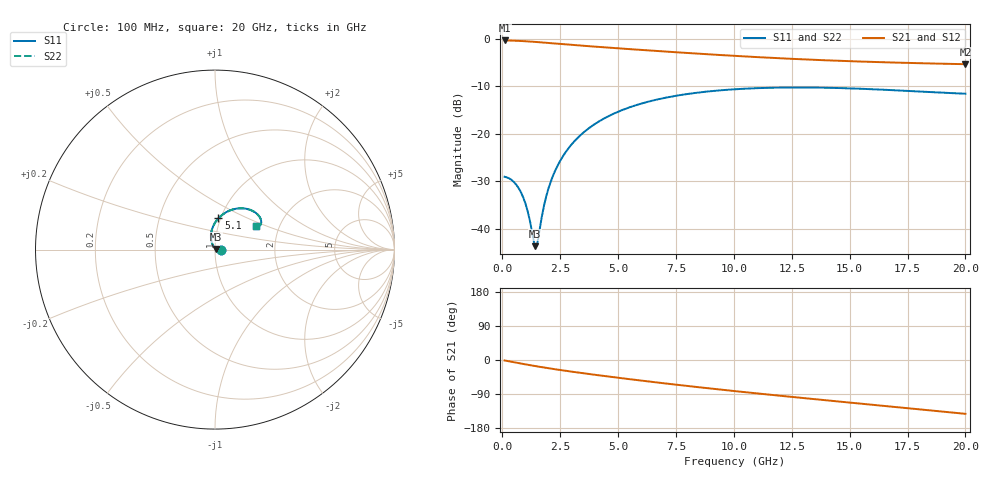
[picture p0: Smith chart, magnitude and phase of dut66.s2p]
! Created with skrf 1.9.0 (http://scikit-rf.org).
# GHz S RI R 50.0
!freq ReS11 ImS11 ReS21 ImS21 ReS12 ImS12 ReS22 ImS22
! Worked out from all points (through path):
!   200 points, 100 MHz to 20 GHz, reference 50 ohm
!   highest |S21| = -0.32 dB at 100 MHz (marker M1); lowest = -5.3 dB at 20 GHz (marker M2)
!   group delay of S21, straight-line fit = 18.8 ps
!   lowest |S11| = -43.7 dB at 1.4 GHz (marker M3), VSWR 1.01, Z = 50.5 + j0.362 ohm
!   |S11| at or under -10 dB: start of sweep to end of sweep
!   |S22| runs from -43.7 to -10.2 dB; largest |S21 - S12| = 3.2e-15
!   S11 on the Smith chart (normalised r, x): 100 MHz: 1.07, -0.00; 5.1 GHz: 0.98, +0.35; 20 GHz: 1.52, +0.43
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0.1  0.0352 -0.000786  0.9642 -0.0203  0.9642 -0.0203  0.0352 -0.000786
0.5  0.0308 -0.00443  0.9544 -0.0985  0.9544 -0.0985  0.0308 -0.00443
0.7  0.0264 -0.00501  0.9452 -0.1359  0.9452 -0.1359  0.0264 -0.00501
0.9  0.0211 -0.00435  0.9337 -0.1718  0.9337 -0.1718  0.0211 -0.00435
1.1  0.015 -0.00229  0.9201 -0.206  0.9201 -0.206  0.015 -0.00229
1.2  0.0118 -0.0007  0.9126 -0.2223  0.9126 -0.2223  0.0118 -0.0007
1.4  0.00548 0.00358  0.8967 -0.2536  0.8967 -0.2536  0.00548 0.00358
1.5  0.00235 0.00625  0.8882 -0.2685  0.8882 -0.2685  0.00235 0.00625
1.8  -0.00639 0.0162  0.8615 -0.3105  0.8615 -0.3105  -0.00639 0.0162
2  -0.0114 0.0242  0.8428 -0.3363  0.8428 -0.3363  -0.0114 0.0242
2.2  -0.0156 0.0332  0.8237 -0.3604  0.8237 -0.3604  -0.0156 0.0332
2.5  -0.0202 0.0478  0.7944 -0.3939  0.7944 -0.3939  -0.0202 0.0478
2.8  -0.0226 0.0635  0.7648 -0.4244  0.7648 -0.4244  -0.0226 0.0635
3.5  -0.02 0.101  0.695 -0.4857  0.695 -0.4857  -0.02 0.101
4.2  -0.00745 0.1361  0.625 -0.5358  0.625 -0.5358  -0.00745 0.1361
5.1  0.0188 0.174  0.5353 -0.5862  0.5353 -0.5862  0.0188 0.174
6.8  0.0829 0.218  0.37 -0.6449  0.37 -0.6449  0.0829 0.218
8.3  0.1397 0.23  0.2338 -0.6638  0.2338 -0.6638  0.1397 0.23
10.1  0.1956 0.2216  0.0869 -0.6564  0.0869 -0.6564  0.1956 0.2216
13.4  0.2508 0.1781  -0.134 -0.5887  -0.134 -0.5887  0.2508 0.1781
16.7  0.254 0.1396  -0.303 -0.478  -0.303 -0.478  0.254 0.1396
20  0.2299 0.1314  -0.4273 -0.3336  -0.4273 -0.3336  0.2299 0.1314
